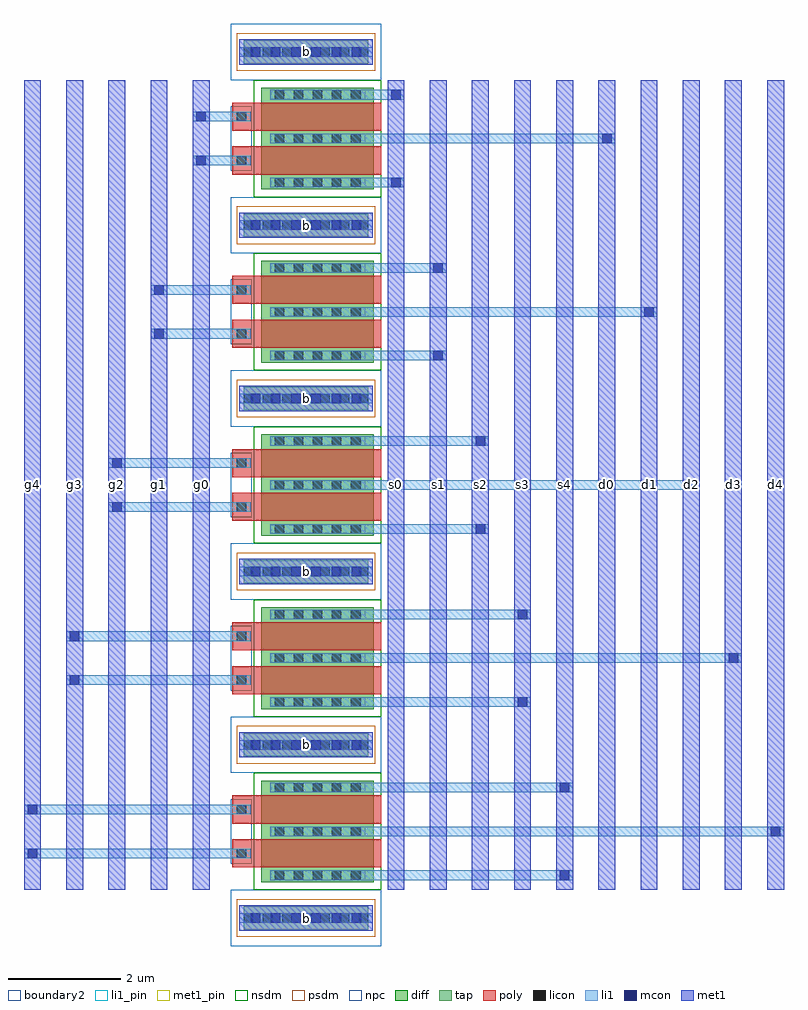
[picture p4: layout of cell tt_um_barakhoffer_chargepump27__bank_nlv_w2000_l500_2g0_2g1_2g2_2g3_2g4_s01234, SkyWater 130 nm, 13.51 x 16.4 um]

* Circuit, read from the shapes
.subckt tt_um_barakhoffer_chargepump27__bank_nlv_w2000_l500_2g0_2g1_2g2_2g3_2g4_s01234 b d0 d1 d2 d3 d4 g0 g1 g2 g3 g4 s0 s1 s2 s3 s4
XM1 d4 g4 s4 b sky130_fd_pr__nfet_01v8 w=2 l=0.5 m=2
XM2 d3 g3 s3 b sky130_fd_pr__nfet_01v8 w=2 l=0.5 m=2
XM3 d2 g2 s2 b sky130_fd_pr__nfet_01v8 w=2 l=0.5 m=2
XM4 d1 g1 s1 b sky130_fd_pr__nfet_01v8 w=2 l=0.5 m=2
XM5 d0 g0 s0 b sky130_fd_pr__nfet_01v8 w=2 l=0.5 m=2
.ends

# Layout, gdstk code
import gdstk
lib = gdstk.Library(unit=1e-6, precision=1e-09)
def R(c, l, rs):  # rectangles x0, y0, x1, y1
    for r in rs: c.add(gdstk.rectangle(r[:2], r[2:], *l))
def A(c, l, x, y, w, h, nx, ny, dx, dy):  # array of equal rectangles
    R(c, l, [(x+i*dx, y+j*dy, x+i*dx+w, y+j*dy+h) for i in range(nx) for j in range(ny)])
diff = (65, 20)
tap = (65, 44)
poly = (66, 20)
licon = (66, 44)
li1_pin = (67, 16)
li1 = (67, 20)
mcon = (67, 44)
met1_pin = (68, 16)
met1 = (68, 20)
nsdm = (93, 44)
psdm = (94, 20)
npc = (95, 20)
boundary2 = (236, 0)

tt_um_barakhoffer_charge = lib.new_cell('tt_um_barakhoffer_chargepump27__mos_22')
A(tt_um_barakhoffer_charge, diff, 0.175, 0, 1.65, 0.25, 1, 3, 0, 0.78)
R(tt_um_barakhoffer_charge, diff, [(0,0,2,1.81)])
R(tt_um_barakhoffer_charge, poly, [(-0.52,0.265,-0.19,0.765), (-0.19,0.265,2.13,0.765), (-0.52,0.38,-0.19,0.65), (-0.52,1.045,-0.19,1.545), (-0.19,1.045,2.13,1.545), (-0.52,1.16,-0.19,1.43)])
A(tt_um_barakhoffer_charge, licon, 0.235, 0.04, 0.17, 0.17, 5, 3, 0.34, 0.78)
R(tt_um_barakhoffer_charge, licon, [(-0.44,0.43,-0.27,0.6), (-0.44,1.21,-0.27,1.38)])
A(tt_um_barakhoffer_charge, li1_pin, 0.155, 0.04, 1.69, 0.17, 1, 3, 0, 0.78)
R(tt_um_barakhoffer_charge, li1_pin, [(-0.52,0.43,-0.19,0.6), (-0.52,1.21,-0.19,1.38)])
R(tt_um_barakhoffer_charge, li1, [(0.155,0.04,1.845,0.21), (0.155,0.04,1.845,0.21), (-0.52,0.43,-0.19,0.6), (-0.52,0.43,-0.19,0.6), (0.155,0.82,1.845,0.99), (0.155,0.82,1.845,0.99), (-0.52,1.21,-0.19,1.38), (-0.52,1.21,-0.19,1.38), (0.155,1.6,1.845,1.77), (0.155,1.6,1.845,1.77)])
R(tt_um_barakhoffer_charge, nsdm, [(-0.135,-0.135,2.135,1.945)])
R(tt_um_barakhoffer_charge, npc, [(-0.54,0.33,-0.17,1.48), (-0.54,0.33,-0.17,0.7), (-0.54,1.11,-0.17,1.48)])
tt_um_barakhoffer_charge.add(gdstk.Label('sd_0_2', (1,1.685), layer=67, texttype=5))
tt_um_barakhoffer_charge.add(gdstk.Label('gate_1', (-0.355,1.295), layer=67, texttype=5))
tt_um_barakhoffer_charge.add(gdstk.Label('gate_0', (-0.355,0.515), layer=67, texttype=5))
tt_um_barakhoffer_charge.add(gdstk.Label('sd_0_0', (1,0.125), layer=67, texttype=5))
tt_um_barakhoffer_charge.add(gdstk.Label('sd_0_1', (1,0.905), layer=67, texttype=5))

c_tt_um_barakhoffer_charge = lib.new_cell('tt_um_barakhoffer_chargepump27__bank_nlv_w2000_l500_2g0_2g1_2g2_2g3_2g4_s01234')
A(c_tt_um_barakhoffer_charge, tap, 0.23, 0.295, 2.21, 0.41, 1, 6, 0, 3.08)
A(c_tt_um_barakhoffer_charge, licon, 0.23, 0.415, 0.17, 0.17, 7, 6, 0.34, 3.08)
A(c_tt_um_barakhoffer_charge, li1, 0.15, 0.415, 2.37, 0.17, 1, 6, 0, 3.08)
A(c_tt_um_barakhoffer_charge, li1, 0.35, 0.415, 1.97, 0.17, 1, 6, 0, 3.08)
R(c_tt_um_barakhoffer_charge, li1, [(0.695,1.175,6.085,1.345), (5.85,1.175,6.02,1.345), (-3.68,1.565,0.35,1.735), (-3.615,1.565,-3.445,1.735), (0.695,1.955,9.835,2.125), (9.6,1.955,9.77,2.125), (-3.68,2.345,0.35,2.515), (-3.615,2.345,-3.445,2.515), (0.695,2.735,6.085,2.905), (5.85,2.735,6.02,2.905), (0.695,4.255,5.335,4.425), (5.1,4.255,5.27,4.425), (-2.93,4.645,0.35,4.815), (-2.865,4.645,-2.695,4.815), (0.695,5.035,9.085,5.205), (8.85,5.035,9.02,5.205), (-2.93,5.425,0.35,5.595), (-2.865,5.425,-2.695,5.595), (0.695,5.815,5.335,5.985), (5.1,5.815,5.27,5.985), (0.695,7.335,4.585,7.505), (4.35,7.335,4.52,7.505), (-2.18,7.725,0.35,7.895), (-2.115,7.725,-1.945,7.895), (0.695,8.115,8.335,8.285), (8.1,8.115,8.27,8.285), (-2.18,8.505,0.35,8.675), (-2.115,8.505,-1.945,8.675), (0.695,8.895,4.585,9.065), (4.35,8.895,4.52,9.065), (0.695,10.415,3.835,10.585), (3.6,10.415,3.77,10.585), (-1.43,10.805,0.35,10.975), (-1.365,10.805,-1.195,10.975), (0.695,11.195,7.585,11.365), (7.35,11.195,7.52,11.365), (-1.43,11.585,0.35,11.755), (-1.365,11.585,-1.195,11.755), (0.695,11.975,3.835,12.145), (3.6,11.975,3.77,12.145), (0.695,13.495,3.085,13.665), (2.85,13.495,3.02,13.665), (-0.68,13.885,0.35,14.055), (-0.615,13.885,-0.445,14.055), (0.695,14.275,6.835,14.445), (6.6,14.275,6.77,14.445), (-0.68,14.665,0.35,14.835), (-0.615,14.665,-0.445,14.835), (0.695,15.055,3.085,15.225), (2.85,15.055,3.02,15.225)])
A(c_tt_um_barakhoffer_charge, mcon, 0.35, 0.415, 0.17, 0.17, 6, 6, 0.36, 3.08)
R(c_tt_um_barakhoffer_charge, mcon, [(5.85,1.175,6.02,1.345), (-3.615,1.565,-3.445,1.735), (9.6,1.955,9.77,2.125), (-3.615,2.345,-3.445,2.515), (5.85,2.735,6.02,2.905), (5.1,4.255,5.27,4.425), (-2.865,4.645,-2.695,4.815), (8.85,5.035,9.02,5.205), (-2.865,5.425,-2.695,5.595), (5.1,5.815,5.27,5.985), (4.35,7.335,4.52,7.505), (-2.115,7.725,-1.945,7.895), (8.1,8.115,8.27,8.285), (-2.115,8.505,-1.945,8.675), (4.35,8.895,4.52,9.065), (3.6,10.415,3.77,10.585), (-1.365,10.805,-1.195,10.975), (7.35,11.195,7.52,11.365), (-1.365,11.585,-1.195,11.755), (3.6,11.975,3.77,12.145), (2.85,13.495,3.02,13.665), (-0.615,13.885,-0.445,14.055), (6.6,14.275,6.77,14.445), (-0.615,14.665,-0.445,14.835), (2.85,15.055,3.02,15.225)])
A(c_tt_um_barakhoffer_charge, met1_pin, 0.15, 0.275, 2.375, 0.45, 1, 6, 0, 3.08)
A(c_tt_um_barakhoffer_charge, met1_pin, -3.68, 1, 0.3, 14.4, 5, 1, 0.75, 0)
A(c_tt_um_barakhoffer_charge, met1_pin, 2.785, 1, 0.3, 14.4, 10, 1, 0.75, 0)
A(c_tt_um_barakhoffer_charge, met1, 0.29, 0.385, 2.09, 0.23, 1, 6, 0, 3.08)
R(c_tt_um_barakhoffer_charge, met1, [(0.15,0.275,2.525,0.725), (0.15,0.275,2.525,0.725), (-3.68,1,-3.38,15.4), (-3.68,1,-3.38,15.4), (-2.93,1,-2.63,15.4), (-2.93,1,-2.63,15.4), (-2.18,1,-1.88,15.4), (-2.18,1,-1.88,15.4), (-1.43,1,-1.13,15.4), (-1.43,1,-1.13,15.4), (-0.68,1,-0.38,15.4), (-0.68,1,-0.38,15.4), (2.785,1,3.085,15.4), (2.785,1,3.085,15.4), (3.535,1,3.835,15.4), (3.535,1,3.835,15.4), (4.285,1,4.585,15.4), (4.285,1,4.585,15.4), (5.035,1,5.335,15.4), (5.035,1,5.335,15.4), (5.785,1,6.085,15.4), (5.785,1,6.085,15.4), (6.535,1,6.835,15.4), (6.535,1,6.835,15.4), (7.285,1,7.585,15.4), (7.285,1,7.585,15.4), (8.035,1,8.335,15.4), (8.035,1,8.335,15.4), (8.785,1,9.085,15.4), (8.785,1,9.085,15.4), (9.535,1,9.835,15.4), (9.535,1,9.835,15.4), (5.79,1.145,6.08,1.375), (-3.675,1.535,-3.385,1.765), (9.54,1.925,9.83,2.155), (-3.675,2.315,-3.385,2.545), (5.79,2.705,6.08,2.935), (0.15,3.355,2.525,3.805), (0.15,3.355,2.525,3.805), (5.04,4.225,5.33,4.455), (-2.925,4.615,-2.635,4.845), (8.79,5.005,9.08,5.235), (-2.925,5.395,-2.635,5.625), (5.04,5.785,5.33,6.015), (0.15,6.435,2.525,6.885), (0.15,6.435,2.525,6.885), (4.29,7.305,4.58,7.535), (-2.175,7.695,-1.885,7.925), (8.04,8.085,8.33,8.315), (-2.175,8.475,-1.885,8.705), (4.29,8.865,4.58,9.095), (0.15,9.515,2.525,9.965), (0.15,9.515,2.525,9.965), (3.54,10.385,3.83,10.615), (-1.425,10.775,-1.135,11.005), (7.29,11.165,7.58,11.395), (-1.425,11.555,-1.135,11.785), (3.54,11.945,3.83,12.175), (0.15,12.595,2.525,13.045), (0.15,12.595,2.525,13.045), (2.79,13.465,3.08,13.695), (-0.675,13.855,-0.385,14.085), (6.54,14.245,6.83,14.475), (-0.675,14.635,-0.385,14.865), (2.79,15.025,3.08,15.255), (0.15,15.675,2.525,16.125), (0.15,15.675,2.525,16.125)])
A(c_tt_um_barakhoffer_charge, psdm, 0.1, 0.165, 2.47, 0.67, 1, 6, 0, 3.08)
A(c_tt_um_barakhoffer_charge, boundary2, 0, 0, 2.675, 1, 1, 6, 0, 3.08)
c_tt_um_barakhoffer_charge.add(gdstk.Reference(tt_um_barakhoffer_charge, (0.54,1.135)))
c_tt_um_barakhoffer_charge.add(gdstk.Reference(tt_um_barakhoffer_charge, (0.54,4.215)))
c_tt_um_barakhoffer_charge.add(gdstk.Reference(tt_um_barakhoffer_charge, (0.54,7.295)))
c_tt_um_barakhoffer_charge.add(gdstk.Reference(tt_um_barakhoffer_charge, (0.54,10.375)))
c_tt_um_barakhoffer_charge.add(gdstk.Reference(tt_um_barakhoffer_charge, (0.54,13.455)))
c_tt_um_barakhoffer_charge.add(gdstk.Label('d2', (8.185,8.2), layer=68, texttype=5))
c_tt_um_barakhoffer_charge.add(gdstk.Label('d4', (9.685,8.2), layer=68, texttype=5))
c_tt_um_barakhoffer_charge.add(gdstk.Label('s2', (4.435,8.2), layer=68, texttype=5))
c_tt_um_barakhoffer_charge.add(gdstk.Label('s4', (5.935,8.2), layer=68, texttype=5))
c_tt_um_barakhoffer_charge.add(gdstk.Label('b', (1.337,0.5), layer=68, texttype=5))
c_tt_um_barakhoffer_charge.add(gdstk.Label('b', (1.337,3.58), layer=68, texttype=5))
c_tt_um_barakhoffer_charge.add(gdstk.Label('b', (1.337,6.66), layer=68, texttype=5))
c_tt_um_barakhoffer_charge.add(gdstk.Label('b', (1.337,9.74), layer=68, texttype=5))
c_tt_um_barakhoffer_charge.add(gdstk.Label('b', (1.337,12.82), layer=68, texttype=5))
c_tt_um_barakhoffer_charge.add(gdstk.Label('b', (1.337,15.9), layer=68, texttype=5))
c_tt_um_barakhoffer_charge.add(gdstk.Label('s0', (2.935,8.2), layer=68, texttype=5))
c_tt_um_barakhoffer_charge.add(gdstk.Label('g3', (-2.78,8.2), layer=68, texttype=5))
c_tt_um_barakhoffer_charge.add(gdstk.Label('s3', (5.185,8.2), layer=68, texttype=5))
c_tt_um_barakhoffer_charge.add(gdstk.Label('g2', (-2.03,8.2), layer=68, texttype=5))
c_tt_um_barakhoffer_charge.add(gdstk.Label('g1', (-1.28,8.2), layer=68, texttype=5))
c_tt_um_barakhoffer_charge.add(gdstk.Label('g0', (-0.53,8.2), layer=68, texttype=5))
c_tt_um_barakhoffer_charge.add(gdstk.Label('g4', (-3.53,8.2), layer=68, texttype=5))
c_tt_um_barakhoffer_charge.add(gdstk.Label('d0', (6.685,8.2), layer=68, texttype=5))
c_tt_um_barakhoffer_charge.add(gdstk.Label('s1', (3.685,8.2), layer=68, texttype=5))
c_tt_um_barakhoffer_charge.add(gdstk.Label('d3', (8.935,8.2), layer=68, texttype=5))
c_tt_um_barakhoffer_charge.add(gdstk.Label('d1', (7.435,8.2), layer=68, texttype=5))

lib.write_gds('tt_um_barakhoffer_chargepump27__bank_nlv_w2000_l500_2g0_2g1_2g2_2g3_2g4_s01234.gds')
